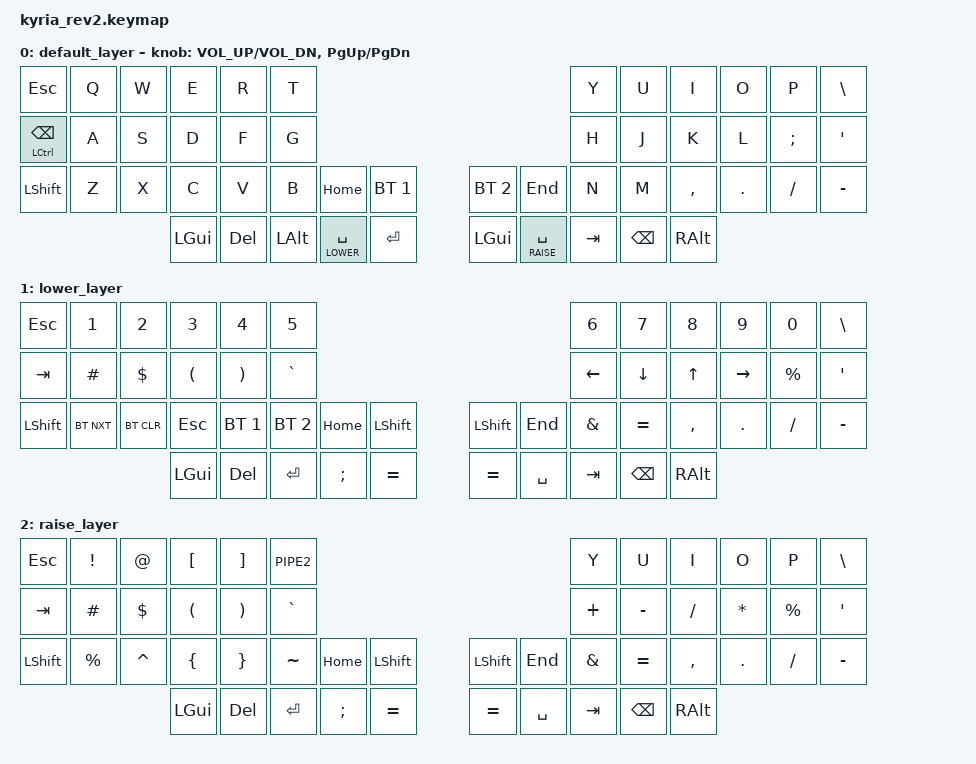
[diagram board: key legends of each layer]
/*
 * Copyright (c) 2020 The ZMK Contributors
 *
 * SPDX-License-Identifier: MIT
 */

#include <behaviors.dtsi>
#include <dt-bindings/zmk/keys.h>
#include <dt-bindings/zmk/bt.h>

#define DEFAULT 0
#define LOWER 1
#define RAISE 2

/ {
	keymap {
		compatible = "zmk,keymap";

		default_layer {
// ---------------------------------------------------------------------------------------------------------------------------------
// |  ESC  |  Q  |  W  |  E   |  R   |  T   |                                          |  Y   |  U    |  I    |  O   |   P   |   \  |
// |CTRL BSPC|  A  |  S  |  D   |  F   |  G   |                                          |  H   |  J    |  K    |  L   |   ;   |   '  |
// | SHIFT |  Z  |  X  |  C   |  V   |  B   |   HOME  | L SHIFT |  | L SHIFT |   END   |  N   |  M    |  ,    |  .   |   /   | -    |
//                     | GUI  | DEL  | L-ALT|  SPACE  |   RET   |  |   RET   |  SPACE  | TAB  | BSPC  | R-ALT |
			bindings = <
	&kp ESC   &kp Q &kp W &kp E &kp R &kp T                                                &kp Y &kp U  &kp I     &kp O   &kp P    &kp BSLH
	&mt LCTRL BSPC   &kp A &kp S &kp D &kp F &kp G                                                &kp H &kp J  &kp K     &kp L   &kp SEMI &kp SQT
	&kp LSHFT &kp Z &kp X &kp C &kp V &kp B &kp HOME &bt BT_SEL 1        &bt BT_SEL 2 &kp END &kp N &kp M  &kp COMMA &kp DOT &kp FSLH &kp MINUS
	                 &kp LGUI &kp DEL &kp LALT &lt LOWER SPACE &kp RET        &kp LGUI  &lt RAISE SPACE  &kp TAB &kp BSPC &kp RALT
			>;

			sensor-bindings = <&inc_dec_kp C_VOL_UP C_VOL_DN &inc_dec_kp PG_UP PG_DN>;
		};
		lower_layer {
			bindings = <
	&kp ESC   &kp NUMBER_1 &kp NUMBER_2 &kp NUMBER_3 &kp NUMBER_4 &kp NUMBER_5                  &kp NUMBER_6 &kp NUMBER_7  &kp NUMBER_8     &kp NUMBER_9   &kp NUMBER_0    &kp BSLH
	&kp TAB   &kp HASH &kp DOLLAR &kp LEFT_PARENTHESIS &kp RIGHT_PARENTHESIS &kp GRAVE                &kp LEFT &kp DOWN  &kp UP     &kp RIGHT   &kp PERCENT &kp SINGLE_QUOTE
	&kp LSHFT &bt BT_NXT &bt BT_CLR &kp ESC &bt BT_SEL 1 &bt BT_SEL 2 &kp HOME &kp LSHFT                                &kp LSHFT &kp END &kp AMPERSAND &kp EQUAL  &kp COMMA &kp DOT &kp FSLH &kp MINUS
	                 &kp LGUI &kp DEL &kp RET &kp SEMICOLON &kp EQUAL        &kp EQUAL  &kp SPACE  &kp TAB &kp BSPC &kp RALT
			>;
		};
		raise_layer {
			bindings = <
	&kp ESC   &kp EXCLAMATION &kp AT_SIGN &kp LEFT_BRACKET &kp RIGHT_BRACKET &kp PIPE2                  &kp Y &kp U  &kp I     &kp O   &kp P    &kp BSLH
	&kp TAB   &kp HASH &kp DOLLAR &kp LEFT_PARENTHESIS &kp RIGHT_PARENTHESIS &kp GRAVE                &kp PLUS &kp MINUS  &kp SLASH     &kp ASTERISK   &kp PERCENT &kp SINGLE_QUOTE
	&kp LSHFT &kp PERCENT &kp CARET &kp LEFT_BRACE &kp RIGHT_BRACE &kp TILDE &kp HOME &kp LSHFT                                 &kp LSHFT &kp END &kp AMPERSAND &kp EQUAL  &kp COMMA &kp DOT &kp FSLH &kp MINUS
	                &kp LGUI &kp DEL &kp RET &kp SEMICOLON &kp EQUAL        &kp EQUAL  &kp SPACE  &kp TAB &kp BSPC &kp RALT
			>;
		};
	};
};
